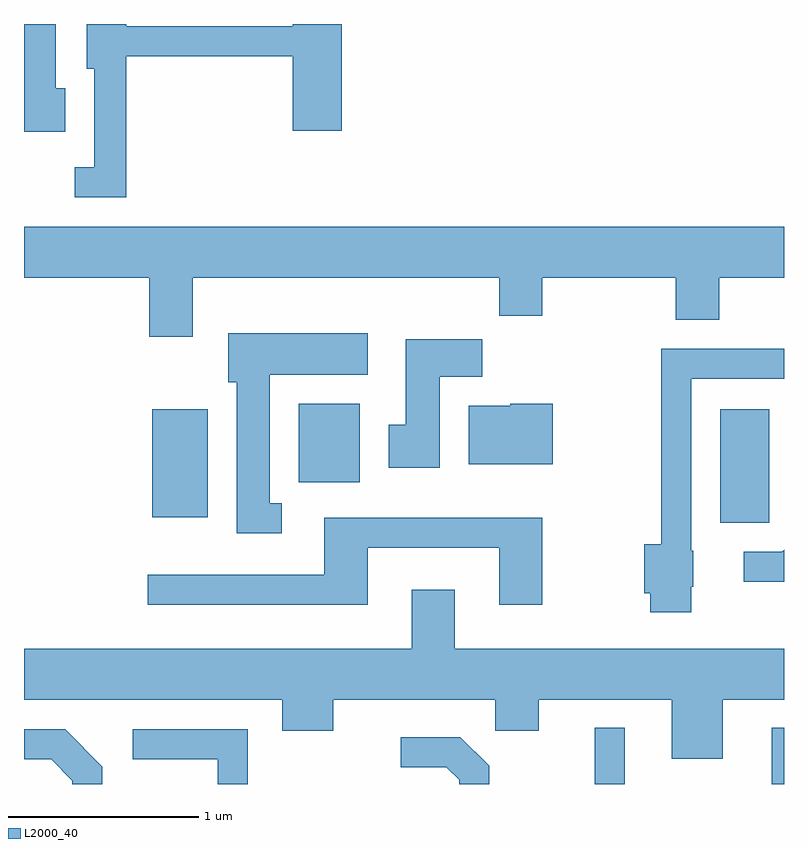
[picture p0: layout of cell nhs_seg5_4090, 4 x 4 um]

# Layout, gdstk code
import gdstk
lib = gdstk.Library(unit=1e-6, precision=1e-09)
def R(c, l, rs):  # rectangles x0, y0, x1, y1
    for r in rs: c.add(gdstk.rectangle(r[:2], r[2:], *l))
def P(c, l, *ps):  # polygons
    for p in ps: c.add(gdstk.Polygon(p, *l))
L2000_40 = (2000, 40)

nhs_seg5_4090 = lib.new_cell('nhs_seg5_4090')
R(nhs_seg5_4090, L2000_40, [(308.616,1514.072,308.774,1514.368), (309.546,1514.072,309.611,1514.368), (309.276,1515.446,309.534,1516.044), (306.286,1515.476,306.579,1516.044), (307.056,1515.661,307.379,1516.074)])
P(nhs_seg5_4090, L2000_40, [(306.149,1517.901),(307.026,1517.901),(307.026,1517.511),(307.284,1517.511),(307.284,1518.072),(307.026,1518.072),(307.026,1518.059),(306.149,1518.059),(306.149,1518.072),(305.941,1518.072),(305.941,1517.836),(305.981,1517.836),(305.981,1517.319),(305.878,1517.319),(305.878,1517.161),(306.149,1517.161)],
  [(305.829,1517.734),(305.779,1517.734),(305.779,1518.072),(305.611,1518.072),(305.611,1517.506),(305.829,1517.506)],
  [(306.499,1516.736),(308.111,1516.736),(308.111,1516.536),(308.339,1516.536),(308.339,1516.736),(309.041,1516.736),(309.041,1516.516),(309.269,1516.516),(309.269,1516.736),(309.611,1516.736),(309.611,1517.004),(305.611,1517.004),(305.611,1516.736),(306.271,1516.736),(306.271,1516.426),(306.499,1516.426)],
  [(306.968,1515.549),(306.904,1515.549),(306.904,1516.226),(307.419,1516.226),(307.419,1516.444),(306.686,1516.444),(306.686,1516.186),(306.731,1516.186),(306.731,1515.391),(306.968,1515.391)],
  [(307.799,1516.216),(308.024,1516.216),(308.024,1516.414),(307.621,1516.414),(307.621,1515.964),(307.531,1515.964),(307.531,1515.736),(307.799,1515.736)],
  [(309.124,1515.11),(309.134,1515.11),(309.134,1515.3),(309.124,1515.3),(309.124,1516.206),(309.611,1516.206),(309.611,1516.364),(308.966,1516.364),(308.966,1515.334),(308.876,1515.334),(308.876,1515.076),(308.906,1515.076),(308.906,1514.976),(309.124,1514.976)],
  [(308.394,1516.074),(308.17,1516.074),(308.17,1516.064),(307.951,1516.064),(307.951,1515.756),(308.394,1515.756)],
  [(307.419,1515.316),(308.111,1515.316),(308.111,1515.016),(308.339,1515.016),(308.339,1515.474),(307.191,1515.474),(307.191,1515.174),(306.263,1515.174),(306.263,1515.016),(307.419,1515.016)],
  [(309.611,1515.306),(309.599,1515.294),(309.398,1515.294),(309.398,1515.136),(309.611,1515.136)],
  [(309.289,1514.516),(309.611,1514.516),(309.611,1514.784),(307.879,1514.784),(307.879,1515.094),(307.651,1515.094),(307.651,1514.784),(305.611,1514.784),(305.611,1514.516),(306.971,1514.516),(306.971,1514.351),(307.239,1514.351),(307.239,1514.516),(308.091,1514.516),(308.091,1514.351),(308.319,1514.351),(308.319,1514.516),(309.021,1514.516),(309.021,1514.206),(309.289,1514.206)],
  [(306.024,1514.162),(305.827,1514.359),(305.611,1514.359),(305.611,1514.201),(305.754,1514.201),(305.866,1514.089),(305.866,1514.072),(306.024,1514.072)],
  [(306.789,1514.359),(306.183,1514.359),(306.183,1514.201),(306.631,1514.201),(306.631,1514.072),(306.789,1514.072)],
  [(308.059,1514.167),(307.907,1514.319),(307.593,1514.319),(307.593,1514.161),(307.834,1514.161),(307.901,1514.094),(307.901,1514.072),(308.059,1514.072)])

lib.write_gds('nhs_seg5_4090.gds')
